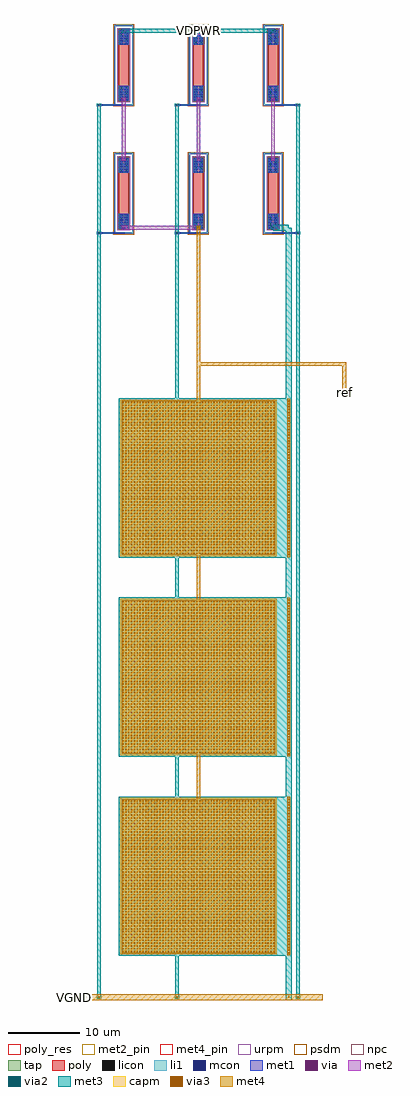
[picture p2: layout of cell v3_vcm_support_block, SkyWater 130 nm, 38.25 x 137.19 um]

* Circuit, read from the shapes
.subckt v3_vcm_support_block VDPWR VGND ref
XC1 ref VGND sky130_fd_pr__cap_mim_m3_1 w=22 l=22 m=3
XR2 n1 ref VGND sky130_fd_pr__res_xhigh_po w=1.41 l=5.76
XR3 n2 n1 VGND sky130_fd_pr__res_xhigh_po w=1.41 l=5.76
XR4 n3 ref VGND sky130_fd_pr__res_xhigh_po w=1.41 l=5.76
XR5 VDPWR n3 VGND sky130_fd_pr__res_xhigh_po w=1.41 l=5.76
XR6 n4 VGND VGND sky130_fd_pr__res_xhigh_po w=1.41 l=5.76
XR7 n2 n4 VGND sky130_fd_pr__res_xhigh_po w=1.41 l=5.76
.ends

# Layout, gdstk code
import gdstk
lib = gdstk.Library(unit=1e-6, precision=1e-09)
def R(c, l, rs):  # rectangles x0, y0, x1, y1
    for r in rs: c.add(gdstk.rectangle(r[:2], r[2:], *l))
def A(c, l, x, y, w, h, nx, ny, dx, dy):  # array of equal rectangles
    R(c, l, [(x+i*dx, y+j*dy, x+i*dx+w, y+j*dy+h) for i in range(nx) for j in range(ny)])
tap = (65, 44)
poly_res = (66, 13)
poly = (66, 20)
licon = (66, 44)
li1 = (67, 20)
mcon = (67, 44)
met1 = (68, 20)
via = (68, 44)
met2_pin = (69, 16)
met2 = (69, 20)
via2 = (69, 44)
met3 = (70, 20)
via3 = (70, 44)
met4_pin = (71, 16)
met4 = (71, 20)
urpm = (79, 20)
capm = (89, 44)
psdm = (94, 20)
npc = (95, 20)

v3_vcm_support_block = lib.new_cell('v3_vcm_support_block')
A(v3_vcm_support_block, tap, 20.645, 112.33, 2.71, 0.17, 3, 2, 10.5, 11.17)
A(v3_vcm_support_block, tap, 20.645, 130.33, 2.71, 0.17, 3, 2, 10.5, 11.17)
R(v3_vcm_support_block, tap, [(20.645,112.5,20.815,123.5), (23.185,112.5,23.355,123.5), (31.145,112.5,31.315,123.5), (33.685,112.5,33.855,123.5), (41.645,112.5,41.815,123.5), (44.185,112.5,44.355,123.5), (20.645,130.5,20.815,141.5), (23.185,130.5,23.355,141.5), (31.145,130.5,31.315,141.5), (33.685,130.5,33.855,141.5), (41.645,130.5,41.815,141.5), (44.185,130.5,44.355,141.5)])
A(v3_vcm_support_block, poly_res, 21.295, 115.06, 1.41, 5.88, 3, 2, 10.5, 18)
A(v3_vcm_support_block, poly, 21.295, 112.98, 1.41, 10.04, 3, 2, 10.5, 18)
A(v3_vcm_support_block, licon, 21.235, 112.33, 0.17, 0.17, 5, 2, 0.34, 11.17)
A(v3_vcm_support_block, licon, 31.735, 112.33, 0.17, 0.17, 5, 2, 0.34, 11.17)
A(v3_vcm_support_block, licon, 42.235, 112.33, 0.17, 0.17, 5, 2, 0.34, 11.17)
A(v3_vcm_support_block, licon, 20.645, 112.815, 0.17, 0.17, 1, 31, 0, 0.34)
A(v3_vcm_support_block, licon, 23.185, 112.815, 0.17, 0.17, 1, 31, 0, 0.34)
A(v3_vcm_support_block, licon, 31.145, 112.815, 0.17, 0.17, 1, 31, 0, 0.34)
A(v3_vcm_support_block, licon, 33.685, 112.815, 0.17, 0.17, 1, 31, 0, 0.34)
A(v3_vcm_support_block, licon, 41.645, 112.815, 0.17, 0.17, 1, 31, 0, 0.34)
A(v3_vcm_support_block, licon, 44.185, 112.815, 0.17, 0.17, 1, 31, 0, 0.34)
A(v3_vcm_support_block, licon, 21.235, 130.33, 0.17, 0.17, 5, 2, 0.34, 11.17)
A(v3_vcm_support_block, licon, 31.735, 130.33, 0.17, 0.17, 5, 2, 0.34, 11.17)
A(v3_vcm_support_block, licon, 42.235, 130.33, 0.17, 0.17, 5, 2, 0.34, 11.17)
A(v3_vcm_support_block, licon, 20.645, 130.815, 0.17, 0.17, 1, 31, 0, 0.34)
A(v3_vcm_support_block, licon, 23.185, 130.815, 0.17, 0.17, 1, 31, 0, 0.34)
A(v3_vcm_support_block, licon, 31.145, 130.815, 0.17, 0.17, 1, 31, 0, 0.34)
A(v3_vcm_support_block, licon, 33.685, 130.815, 0.17, 0.17, 1, 31, 0, 0.34)
A(v3_vcm_support_block, licon, 41.645, 130.815, 0.17, 0.17, 1, 31, 0, 0.34)
A(v3_vcm_support_block, licon, 44.185, 130.815, 0.17, 0.17, 1, 31, 0, 0.34)
R(v3_vcm_support_block, licon, [(21.55,113.06,21.74,115.06), (22.26,113.06,22.45,115.06), (32.05,113.06,32.24,115.06), (32.76,113.06,32.95,115.06), (42.55,113.06,42.74,115.06), (43.26,113.06,43.45,115.06), (21.55,120.94,21.74,122.94), (22.26,120.94,22.45,122.94), (32.05,120.94,32.24,122.94), (32.76,120.94,32.95,122.94), (42.55,120.94,42.74,122.94), (43.26,120.94,43.45,122.94), (21.55,131.06,21.74,133.06), (22.26,131.06,22.45,133.06), (32.05,131.06,32.24,133.06), (32.76,131.06,32.95,133.06), (42.55,131.06,42.74,133.06), (43.26,131.06,43.45,133.06), (21.55,138.94,21.74,140.94), (22.26,138.94,22.45,140.94), (32.05,138.94,32.24,140.94), (32.76,138.94,32.95,140.94), (42.55,138.94,42.74,140.94), (43.26,138.94,43.45,140.94)])
A(v3_vcm_support_block, li1, 20.645, 112.33, 2.71, 0.17, 3, 2, 10.5, 11.17)
A(v3_vcm_support_block, li1, 21.295, 112.98, 1.41, 2.16, 3, 2, 10.5, 7.88)
A(v3_vcm_support_block, li1, 20.645, 130.33, 2.71, 0.17, 3, 2, 10.5, 11.17)
A(v3_vcm_support_block, li1, 21.295, 130.98, 1.41, 2.16, 3, 2, 10.5, 7.88)
R(v3_vcm_support_block, li1, [(20.645,112.5,20.815,123.5), (23.185,112.5,23.355,123.5), (31.145,112.5,31.315,123.5), (33.685,112.5,33.855,123.5), (41.645,112.5,41.815,123.5), (44.185,112.5,44.355,123.5), (20.645,130.5,20.815,141.5), (23.185,130.5,23.355,141.5), (31.145,130.5,31.315,141.5), (33.685,130.5,33.855,141.5), (41.645,130.5,41.815,141.5), (44.185,130.5,44.355,141.5)])
A(v3_vcm_support_block, mcon, 21.915, 112.33, 0.17, 0.17, 3, 2, 10.5, 18)
A(v3_vcm_support_block, mcon, 21.375, 113.075, 0.17, 0.17, 4, 6, 0.36, 0.36)
A(v3_vcm_support_block, mcon, 31.875, 113.075, 0.17, 0.17, 4, 6, 0.36, 0.36)
A(v3_vcm_support_block, mcon, 42.375, 113.075, 0.17, 0.17, 4, 6, 0.36, 0.36)
A(v3_vcm_support_block, mcon, 21.375, 120.95, 0.17, 0.17, 4, 6, 0.36, 0.36)
A(v3_vcm_support_block, mcon, 31.875, 120.95, 0.17, 0.17, 4, 6, 0.36, 0.36)
A(v3_vcm_support_block, mcon, 42.375, 120.95, 0.17, 0.17, 4, 6, 0.36, 0.36)
A(v3_vcm_support_block, mcon, 21.375, 131.075, 0.17, 0.17, 4, 6, 0.36, 0.36)
A(v3_vcm_support_block, mcon, 31.875, 131.075, 0.17, 0.17, 4, 6, 0.36, 0.36)
A(v3_vcm_support_block, mcon, 42.375, 131.075, 0.17, 0.17, 4, 6, 0.36, 0.36)
A(v3_vcm_support_block, mcon, 21.375, 138.95, 0.17, 0.17, 4, 6, 0.36, 0.36)
A(v3_vcm_support_block, mcon, 31.875, 138.95, 0.17, 0.17, 4, 6, 0.36, 0.36)
A(v3_vcm_support_block, mcon, 42.375, 138.95, 0.17, 0.17, 4, 6, 0.36, 0.36)
A(v3_vcm_support_block, met1, 21.84, 112.995, 0.32, 0.015, 3, 2, 10.5, 9.995)
A(v3_vcm_support_block, met1, 21.345, 113.01, 1.31, 2.105, 3, 2, 10.5, 7.875)
A(v3_vcm_support_block, met1, 21.84, 130.995, 0.32, 0.015, 3, 2, 10.5, 9.995)
A(v3_vcm_support_block, met1, 21.345, 131.01, 1.31, 2.105, 3, 2, 10.5, 7.875)
R(v3_vcm_support_block, met1, [(18.34,112.255,18.66,112.3), (29.34,112.255,29.66,112.3), (46.34,112.255,46.66,112.3), (18.34,112.3,22.145,112.53), (29.34,112.3,32.645,112.53), (42.855,112.3,46.66,112.53), (18.34,112.53,18.66,112.575), (29.34,112.53,29.66,112.575), (46.34,112.53,46.66,112.575), (18.34,130.255,18.66,130.3), (29.34,130.255,29.66,130.3), (46.34,130.255,46.66,130.3), (18.34,130.3,22.145,130.53), (29.34,130.3,32.645,130.53), (42.855,130.3,46.66,130.53), (18.34,130.53,18.66,130.575), (29.34,130.53,29.66,130.575), (46.34,130.53,46.66,130.575)])
A(v3_vcm_support_block, via, 21.925, 113.08, 0.15, 0.15, 3, 2, 10.5, 9.69)
A(v3_vcm_support_block, via, 21.925, 131.08, 0.15, 0.15, 3, 2, 10.5, 9.69)
R(v3_vcm_support_block, via, [(18.425,112.34,18.575,112.49), (29.425,112.34,29.575,112.49), (46.425,112.34,46.575,112.49), (18.425,130.34,18.575,130.49), (29.425,130.34,29.575,130.49), (46.425,130.34,46.575,130.49)])
R(v3_vcm_support_block, met2_pin, [(32.34,140.685,32.66,141.005)])
A(v3_vcm_support_block, met2, 21.75, 122.595, 0.5, 8.81, 3, 1, 10.5, 0)
R(v3_vcm_support_block, met2, [(18.3,112.215,18.7,112.615), (29.3,112.215,29.7,112.615), (46.3,112.215,46.7,112.615), (21.75,112.905,32.75,113.405), (42.8,112.955,43.2,113.355), (18.3,130.215,18.7,130.615), (29.3,130.215,29.7,130.615), (46.3,130.215,46.7,130.615), (21.8,140.645,22.2,141.045), (42.8,140.645,43.2,141.045), (32.34,140.685,32.66,141.005)])
R(v3_vcm_support_block, via2, [(18.4,112.315,18.6,112.515), (29.4,112.315,29.6,112.515), (46.4,112.315,46.6,112.515), (32.4,113.055,32.6,113.255), (42.9,113.055,43.1,113.255), (18.4,130.315,18.6,130.515), (29.4,130.315,29.6,130.515), (46.4,130.315,46.6,130.515), (21.9,140.745,22.1,140.945), (42.9,140.745,43.1,140.945)])
A(v3_vcm_support_block, met3, 29.25, 5.2, 0.5, 5.6, 1, 3, 0, 28)
A(v3_vcm_support_block, met3, 21.3, 10.8, 24.3, 22.4, 1, 3, 0, 28)
R(v3_vcm_support_block, met3, [(44.8,4.6,45.6,10.8), (18.19,4.8,18.81,5.2), (29.19,4.8,29.81,5.2), (46.19,4.8,46.81,5.2), (18.25,5.2,18.75,112.215), (46.25,5.2,46.75,112.215), (44.8,33.2,45.6,38.8), (44.8,61.2,45.6,66.8), (29.25,89.2,29.75,112.215), (44.8,89.2,45.6,112.755), (18.19,112.215,18.81,112.615), (29.19,112.215,29.81,112.615), (46.19,112.215,46.81,112.615), (18.25,112.615,18.75,130.215), (29.25,112.615,29.75,130.215), (46.25,112.615,46.75,130.215), (43,112.755,45.6,112.955), (32.19,112.955,32.81,113.355), (42.69,112.955,45.6,113.155), (42.69,113.155,45.2,113.355), (43,113.355,45.2,113.555), (18.19,130.215,18.81,130.615), (29.19,130.215,29.81,130.615), (46.19,130.215,46.81,130.615), (21.75,140.595,43.25,140.645), (21.69,140.645,43.31,141.045), (21.75,141.045,43.25,141.095)])
A(v3_vcm_support_block, via3, 45.1, 11.1, 0.2, 0.2, 1, 55, 0, 0.4)
A(v3_vcm_support_block, via3, 21.8, 11.3, 0.2, 0.2, 54, 54, 0.4, 0.4)
A(v3_vcm_support_block, via3, 45.1, 39.1, 0.2, 0.2, 1, 55, 0, 0.4)
A(v3_vcm_support_block, via3, 21.8, 39.3, 0.2, 0.2, 54, 54, 0.4, 0.4)
A(v3_vcm_support_block, via3, 45.1, 67.1, 0.2, 0.2, 1, 55, 0, 0.4)
A(v3_vcm_support_block, via3, 21.8, 67.3, 0.2, 0.2, 54, 54, 0.4, 0.4)
R(v3_vcm_support_block, via3, [(18.4,4.9,18.6,5.1), (29.4,4.9,29.6,5.1), (45.1,4.9,45.3,5.1), (46.4,4.9,46.6,5.1), (32.4,113.055,32.6,113.255)])
R(v3_vcm_support_block, met4_pin, [(15,4.8,15.2,5.2), (52.8,89.8,53.2,90.2)])
A(v3_vcm_support_block, met4, 44.96, 10.86, 0.48, 22.28, 1, 3, 0, 28)
A(v3_vcm_support_block, met4, 21.695, 11.195, 21.61, 21.61, 1, 3, 0, 28)
R(v3_vcm_support_block, met4, [(15,4.6,50,5.4), (32.25,32.805,32.75,39.195), (32.25,60.805,32.75,67.195), (32.25,88.805,32.75,93.75), (52.75,89.75,53.25,93.75), (32.25,93.75,53.25,94.25), (32.25,94.25,32.75,113.405)])
A(v3_vcm_support_block, urpm, 21.095, 112.78, 1.81, 10.44, 3, 2, 10.5, 18)
A(v3_vcm_support_block, capm, 21.5, 11, 22, 22, 1, 3, 0, 28)
A(v3_vcm_support_block, psdm, 20.52, 112.205, 2.96, 11.59, 3, 2, 10.5, 18)
A(v3_vcm_support_block, npc, 21.2, 112.885, 1.6, 10.23, 3, 2, 10.5, 18)
v3_vcm_support_block.add(gdstk.Label('VDPWR', (32.5,140.845), layer=69, texttype=5))
v3_vcm_support_block.add(gdstk.Label('VGND', (15.1,5), layer=71, texttype=5))
v3_vcm_support_block.add(gdstk.Label('ref', (53,90), layer=71, texttype=5))

lib.write_gds('v3_vcm_support_block.gds')
